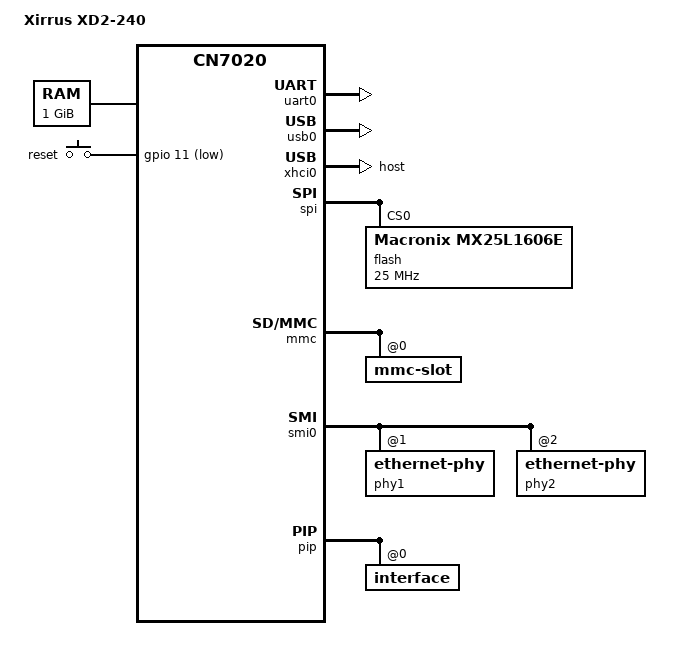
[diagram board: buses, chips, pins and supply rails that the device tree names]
// SPDX-License-Identifier: GPL-2.0-or-later OR MIT

#include "cn71xx.dtsi"

#include <dt-bindings/gpio/gpio.h>
#include <dt-bindings/input/input.h>
#include <dt-bindings/net/qca-ar803x.h>

/ {
	compatible = "xirrus,xd2-240", "cavium,cn7020";
	model = "Xirrus XD2-240";

	memory@0 {
		device_type = "memory";
		reg = <0x0 0x00000000>,
		      <0x0 0x10000000>,
		      <0x0 0x20000000>,
		      <0x0 0x30000000>;
	};

	keys {
		compatible = "gpio-keys-polled";
		poll-interval = <20>;

		reset {
			label = "reset";
			linux,code = <KEY_RESTART>;
			gpios = <&gpio 11 GPIO_ACTIVE_LOW>;
			debounce-interval = <60>;
		};
	};
};

&uart0 {
	status = "okay";
};

&usb0 {
	status = "okay";
};

&xhci0 {
	status = "okay";
	dr_mode = "host";
};

&spi {
	status = "okay";

	flash@0 {
		#address-cells = <1>;
		#size-cells = <1>;
		compatible = "Macronix,mx25l1606e", "spi-flash";
		reg = <0>;
		spi-max-frequency = <25000000>;

	};
};

&mmc {
	status = "okay";

	mmc-slot@0 {
		compatible = "mmc-slot";
		reg = <0>;
		non-removable;
		max-frequency = <26000000>;
		voltage-ranges = <3300 3300>;
		bus-width = <8>;
	};
};

&smi0 {
	status = "okay";

	phy1: ethernet-phy@1 {
		device_type = "ethernet-phy";
		interrupt-parent = <&gpio>;
		reg = <1>;
	};

	phy2: ethernet-phy@2 {
		device_type = "ethernet-phy";
		interrupt-parent = <&gpio>;
		reg = <2>;
	};
};

&pip {
	status = "okay";

	interface@0 {
		status = "okay";

                ethernet@0 {
                        label = "lan1";
                        status = "okay";
                        phy-mode = "sgmii";
                        phy-handle = <&phy1>;
                };

                ethernet@1 {
                        label = "lan2";
                        status = "okay";
                        phy-mode = "sgmii";
                        phy-handle = <&phy2>;
                };
	};
};

